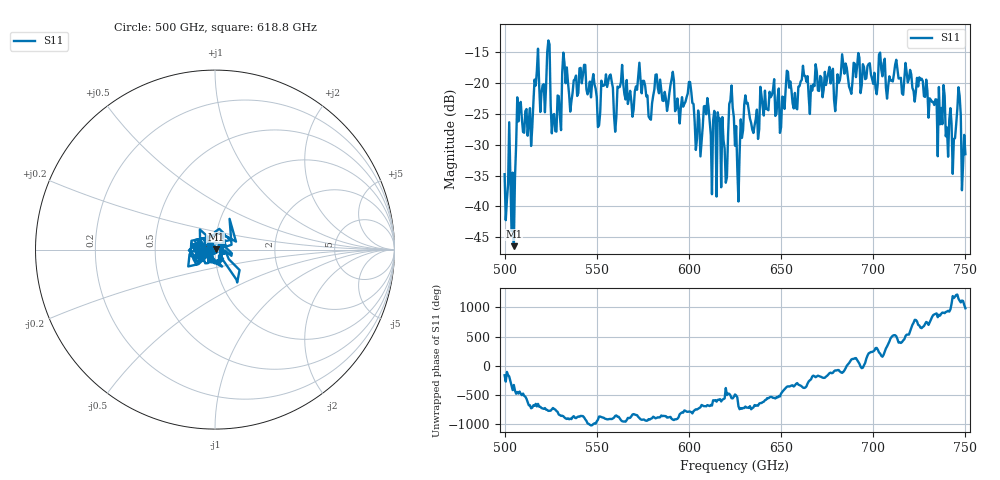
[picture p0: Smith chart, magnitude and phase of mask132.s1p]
!Created with skrf (http://scikit-rf.org).
# GHz S MA R 50.0
!freq magS11 angS11
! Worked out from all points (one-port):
!   401 points, 500 GHz to 750 GHz, reference 50 ohm
!   lowest |S11| = -46.4 dB at 505 GHz (marker M1), VSWR 1.01, Z = 50.4 + j0.232 ohm
!   |S11| at or under -10 dB: start of sweep to end of sweep
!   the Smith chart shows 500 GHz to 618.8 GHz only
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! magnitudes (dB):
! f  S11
! 500 GHz  -34.8
! 505 GHz  -46.4
! 508.1 GHz  -23.8
! 513.8 GHz  -24.1
! 516.9 GHz  -20.4
! 520.6 GHz  -20.3
! 523.8 GHz  -13.1
! 526.9 GHz  -25.0
! 531.2 GHz  -18.3
! 542.5 GHz  -18.7
! 550.6 GHz  -27.2
! 562.5 GHz  -20.6
! 590.6 GHz  -19.4
! 593.8 GHz  -22.5
! 600 GHz  -19.8
! 605 GHz  -24.5
! 609.4 GHz  -25.1
! 620 GHz  -36.2
! 623.1 GHz  -20.4
! 625 GHz  -30.2
! 626.2 GHz  -33.9
! 631.2 GHz  -23.3
! 656.2 GHz  -23.3
! 687.5 GHz  -21.1
! 718.8 GHz  -19.9
! 743.8 GHz  -29.1
! 746.2 GHz  -20.7
! 750 GHz  -31.5
